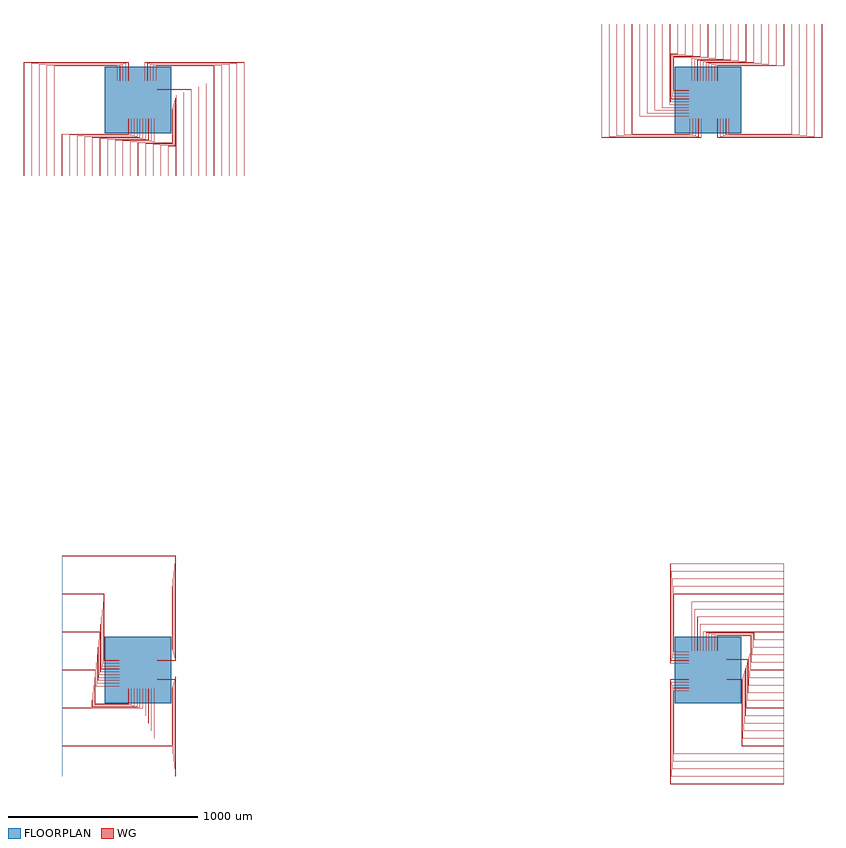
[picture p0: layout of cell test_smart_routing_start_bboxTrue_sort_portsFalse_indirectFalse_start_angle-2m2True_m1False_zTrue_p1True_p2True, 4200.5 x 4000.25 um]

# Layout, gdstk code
import gdstk
lib = gdstk.Library(unit=1e-6, precision=1e-09)
def R(c, l, rs):  # rectangles x0, y0, x1, y1
    for r in rs: c.add(gdstk.rectangle(r[:2], r[2:], *l))
def P(c, l, *ps):  # polygons
    for p in ps: c.add(gdstk.Polygon(p, *l))
WG = (1, 0)
FLOORPLAN = (10, 0)

test_smart_routing_start = lib.new_cell('test_smart_routing_start_bboxTrue_sort_portsFalse_indirectFalse_start_angle-2m2True_m1False_zTrue_p1True_p2True')
P(test_smart_routing_start, WG, [(3050.05,2802.8),(3050.05,2900),(3050.25,2900),(3050.25,2803),(3599.75,2803),(3599.75,3400),(3599.95,3400),(3599.95,2802.8)],
  [(3049.75,2802.5),(3049.75,2900),(3049.95,2900),(3049.95,2802.7),(3600.05,2802.7),(3600.05,3400),(3600.25,3400),(3600.25,2802.5)],
  [(3065.05,2807.3),(3065.05,2900),(3065.25,2900),(3065.25,2807.5),(3559.75,2807.5),(3559.75,3400),(3559.95,3400),(3559.95,2807.3)],
  [(3064.75,2807),(3064.75,2900),(3064.95,2900),(3064.95,2807.2),(3560.05,2807.2),(3560.05,3400),(3560.25,3400),(3560.25,2807)],
  [(3080.05,2811.8),(3080.05,2900),(3080.25,2900),(3080.25,2812),(3519.75,2812),(3519.75,3400),(3519.95,3400),(3519.95,2811.8)],
  [(3079.75,2811.5),(3079.75,2900),(3079.95,2900),(3079.95,2811.7),(3520.05,2811.7),(3520.05,3400),(3520.25,3400),(3520.25,2811.5)],
  [(3095.05,2816.3),(3095.05,2900),(3095.25,2900),(3095.25,2816.5),(3479.75,2816.5),(3479.75,3400),(3479.95,3400),(3479.95,2816.3)],
  [(3094.75,2816),(3094.75,2900),(3094.95,2900),(3094.95,2816.2),(3480.05,2816.2),(3480.05,3400),(3480.25,3400),(3480.25,2816)],
  [(3110.05,2820.8),(3110.05,2900),(3110.25,2900),(3110.25,2821),(3439.75,2821),(3439.75,3400),(3439.95,3400),(3439.95,2820.8)],
  [(3109.75,2820.5),(3109.75,2900),(3109.95,2900),(3109.95,2820.7),(3440.05,2820.7),(3440.05,3400),(3440.25,3400),(3440.25,2820.5)],
  [(3049.75,3100),(3049.75,3179.5),(3399.75,3179.5),(3399.75,3400),(3399.95,3400),(3399.95,3179.3),(3049.95,3179.3),(3049.95,3100)],
  [(3050.05,3100),(3050.05,3179.2),(3400.05,3179.2),(3400.05,3400),(3400.25,3400),(3400.25,3179),(3050.25,3179),(3050.25,3100)],
  [(3034.75,3100),(3034.75,3184),(3359.75,3184),(3359.75,3400),(3359.95,3400),(3359.95,3183.8),(3034.95,3183.8),(3034.95,3100)],
  [(3035.05,3100),(3035.05,3183.7),(3360.05,3183.7),(3360.05,3400),(3360.25,3400),(3360.25,3183.5),(3035.25,3183.5),(3035.25,3100)],
  [(3019.75,3100),(3019.75,3188.5),(3319.75,3188.5),(3319.75,3400),(3319.95,3400),(3319.95,3188.3),(3019.95,3188.3),(3019.95,3100)],
  [(3020.05,3100),(3020.05,3188.2),(3320.05,3188.2),(3320.05,3400),(3320.25,3400),(3320.25,3188),(3020.25,3188),(3020.25,3100)],
  [(3004.75,3100),(3004.75,3193),(3279.75,3193),(3279.75,3400),(3279.95,3400),(3279.95,3192.8),(3004.95,3192.8),(3004.95,3100)],
  [(3005.05,3100),(3005.05,3192.7),(3280.05,3192.7),(3280.05,3400),(3280.25,3400),(3280.25,3192.5),(3005.25,3192.5),(3005.25,3100)],
  [(2989.75,3100),(2989.75,3197.5),(3239.75,3197.5),(3239.75,3400),(3239.95,3400),(3239.95,3197.3),(2989.95,3197.3),(2989.95,3100)],
  [(2990.05,3100),(2990.05,3197.2),(3240.05,3197.2),(3240.05,3400),(3240.25,3400),(3240.25,3197),(2990.25,3197),(2990.25,3100)],
  [(2974.75,3100),(2974.75,3202),(3199.75,3202),(3199.75,3400),(3199.95,3400),(3199.95,3201.8),(2974.95,3201.8),(2974.95,3100)],
  [(2975.05,3100),(2975.05,3201.7),(3200.05,3201.7),(3200.05,3400),(3200.25,3400),(3200.25,3201.5),(2975.25,3201.5),(2975.25,3100)],
  [(2959.75,3100),(2959.75,3206.5),(3159.75,3206.5),(3159.75,3400),(3159.95,3400),(3159.95,3206.3),(2959.95,3206.3),(2959.95,3100)],
  [(2960.05,3100),(2960.05,3206.2),(3160.05,3206.2),(3160.05,3400),(3160.25,3400),(3160.25,3206),(2960.25,3206),(2960.25,3100)],
  [(2944.75,3100),(2944.75,3211),(3119.75,3211),(3119.75,3400),(3119.95,3400),(3119.95,3210.8),(2944.95,3210.8),(2944.95,3100)],
  [(2945.05,3100),(2945.05,3210.7),(3120.05,3210.7),(3120.05,3400),(3120.25,3400),(3120.25,3210.5),(2945.25,3210.5),(2945.25,3100)],
  [(2929.75,3100),(2929.75,3215.5),(3079.75,3215.5),(3079.75,3400),(3079.95,3400),(3079.95,3215.3),(2929.95,3215.3),(2929.95,3100)],
  [(2930.05,3100),(2930.05,3215.2),(3080.05,3215.2),(3080.05,3400),(3080.25,3400),(3080.25,3215),(2930.25,3215),(2930.25,3100)],
  [(2914.75,3100),(2914.75,3220),(3039.75,3220),(3039.75,3400),(3039.95,3400),(3039.95,3219.8),(2914.95,3219.8),(2914.95,3100)],
  [(2915.05,3100),(2915.05,3219.7),(3040.05,3219.7),(3040.05,3400),(3040.25,3400),(3040.25,3219.5),(2915.25,3219.5),(2915.25,3100)],
  [(2820.5,3049.75),(2820.5,3224.5),(2999.75,3224.5),(2999.75,3400),(2999.95,3400),(2999.95,3224.3),(2820.7,3224.3),(2820.7,3049.95),(2900,3049.95),(2900,3049.75)],
  [(2820.8,3050.05),(2820.8,3224.2),(3000.05,3224.2),(3000.05,3400),(3000.25,3400),(3000.25,3224),(2821,3224),(2821,3050.25),(2900,3050.25),(2900,3050.05)],
  [(2816,3034.75),(2816,3229),(2959.75,3229),(2959.75,3400),(2959.95,3400),(2959.95,3228.8),(2816.2,3228.8),(2816.2,3034.95),(2900,3034.95),(2900,3034.75)],
  [(2816.3,3035.05),(2816.3,3228.7),(2960.05,3228.7),(2960.05,3400),(2960.25,3400),(2960.25,3228.5),(2816.5,3228.5),(2816.5,3035.25),(2900,3035.25),(2900,3035.05)],
  [(2811.5,3019.75),(2811.5,3233.5),(2919.75,3233.5),(2919.75,3400),(2919.95,3400),(2919.95,3233.3),(2811.7,3233.3),(2811.7,3019.95),(2900,3019.95),(2900,3019.75)],
  [(2811.8,3020.05),(2811.8,3233.2),(2920.05,3233.2),(2920.05,3400),(2920.25,3400),(2920.25,3233),(2812,3233),(2812,3020.25),(2900,3020.25),(2900,3020.05)],
  [(2807,3004.75),(2807,3238),(2879.75,3238),(2879.75,3400),(2879.95,3400),(2879.95,3237.8),(2807.2,3237.8),(2807.2,3004.95),(2900,3004.95),(2900,3004.75)],
  [(2807.3,3005.05),(2807.3,3237.7),(2880.05,3237.7),(2880.05,3400),(2880.25,3400),(2880.25,3237.5),(2807.5,3237.5),(2807.5,3005.25),(2900,3005.25),(2900,3005.05)],
  [(2802.5,2989.75),(2802.5,3242.5),(2839.75,3242.5),(2839.75,3400),(2839.95,3400),(2839.95,3242.3),(2802.7,3242.3),(2802.7,2989.95),(2900,2989.95),(2900,2989.75)],
  [(2802.8,2990.05),(2802.8,3242.2),(2840.05,3242.2),(2840.05,3400),(2840.25,3400),(2840.25,3242),(2803,3242),(2803,2990.25),(2900,2990.25),(2900,2990.05)],
  [(2798,2974.75),(2798,3247),(2799.75,3247),(2799.75,3400),(2799.95,3400),(2799.95,3246.8),(2798.2,3246.8),(2798.2,2974.95),(2900,2974.95),(2900,2974.75)],
  [(2798.3,2975.05),(2798.3,3246.7),(2800.05,3246.7),(2800.05,3400),(2800.25,3400),(2800.25,3246.5),(2798.5,3246.5),(2798.5,2975.25),(2900,2975.25),(2900,2975.05)],
  [(2759.75,2959.75),(2759.75,3400),(2759.95,3400),(2759.95,2959.95),(2900,2959.95),(2900,2959.75)],
  [(2760.05,2960.05),(2760.05,3400),(2760.25,3400),(2760.25,2960.25),(2900,2960.25),(2900,2960.05)],
  [(2719.75,2944.75),(2719.75,3400),(2719.95,3400),(2719.95,2944.95),(2900,2944.95),(2900,2944.75)],
  [(2720.05,2945.05),(2720.05,3400),(2720.25,3400),(2720.25,2945.25),(2900,2945.25),(2900,2945.05)],
  [(2679.75,2929.75),(2679.75,3400),(2679.95,3400),(2679.95,2929.95),(2900,2929.95),(2900,2929.75)],
  [(2680.05,2930.05),(2680.05,3400),(2680.25,3400),(2680.25,2930.25),(2900,2930.25),(2900,2930.05)],
  [(2639.75,2914.75),(2639.75,3400),(2639.95,3400),(2639.95,2914.95),(2900,2914.95),(2900,2914.75)],
  [(2640.05,2915.05),(2640.05,3400),(2640.25,3400),(2640.25,2915.25),(2900,2915.25),(2900,2915.05)],
  [(2439.75,2802.5),(2439.75,3400),(2439.95,3400),(2439.95,2802.7),(2965.05,2802.7),(2965.05,2900),(2965.25,2900),(2965.25,2802.5)],
  [(2440.05,2802.8),(2440.05,3400),(2440.25,3400),(2440.25,2803),(2964.75,2803),(2964.75,2900),(2964.95,2900),(2964.95,2802.8)],
  [(2479.75,2807),(2479.75,3400),(2479.95,3400),(2479.95,2807.2),(2950.05,2807.2),(2950.05,2900),(2950.25,2900),(2950.25,2807)],
  [(2480.05,2807.3),(2480.05,3400),(2480.25,3400),(2480.25,2807.5),(2949.75,2807.5),(2949.75,2900),(2949.95,2900),(2949.95,2807.3)],
  [(2519.75,2811.5),(2519.75,3400),(2519.95,3400),(2519.95,2811.7),(2935.05,2811.7),(2935.05,2900),(2935.25,2900),(2935.25,2811.5)],
  [(2520.05,2811.8),(2520.05,3400),(2520.25,3400),(2520.25,2812),(2934.75,2812),(2934.75,2900),(2934.95,2900),(2934.95,2811.8)],
  [(2559.75,2816),(2559.75,3400),(2559.95,3400),(2559.95,2816.2),(2920.05,2816.2),(2920.05,2900),(2920.25,2900),(2920.25,2816)],
  [(2560.05,2816.3),(2560.05,3400),(2560.25,3400),(2560.25,2816.5),(2919.75,2816.5),(2919.75,2900),(2919.95,2900),(2919.95,2816.3)],
  [(2599.75,2820.5),(2599.75,3400),(2599.95,3400),(2599.95,2820.7),(2905.05,2820.7),(2905.05,2900),(2905.25,2900),(2905.25,2820.5)],
  [(2600.05,2820.8),(2600.05,3400),(2600.25,3400),(2600.25,2821),(2904.75,2821),(2904.75,2900),(2904.95,2900),(2904.95,2820.8)],
  [(-599.95,2600),(-599.95,3197.2),(-50.05,3197.2),(-50.05,3100),(-50.25,3100),(-50.25,3197),(-599.75,3197),(-599.75,2600)],
  [(-600.25,2600),(-600.25,3197.5),(-49.75,3197.5),(-49.75,3100),(-49.95,3100),(-49.95,3197.3),(-600.05,3197.3),(-600.05,2600)],
  [(-559.95,2600),(-559.95,3192.7),(-65.05,3192.7),(-65.05,3100),(-65.25,3100),(-65.25,3192.5),(-559.75,3192.5),(-559.75,2600)],
  [(-560.25,2600),(-560.25,3193),(-64.75,3193),(-64.75,3100),(-64.95,3100),(-64.95,3192.8),(-560.05,3192.8),(-560.05,2600)],
  [(-519.95,2600),(-519.95,3188.2),(-80.05,3188.2),(-80.05,3100),(-80.25,3100),(-80.25,3188),(-519.75,3188),(-519.75,2600)],
  [(-520.25,2600),(-520.25,3188.5),(-79.75,3188.5),(-79.75,3100),(-79.95,3100),(-79.95,3188.3),(-520.05,3188.3),(-520.05,2600)],
  [(-479.95,2600),(-479.95,3183.7),(-95.05,3183.7),(-95.05,3100),(-95.25,3100),(-95.25,3183.5),(-479.75,3183.5),(-479.75,2600)],
  [(-480.25,2600),(-480.25,3184),(-94.75,3184),(-94.75,3100),(-94.95,3100),(-94.95,3183.8),(-480.05,3183.8),(-480.05,2600)],
  [(-439.95,2600),(-439.95,3179.2),(-110.05,3179.2),(-110.05,3100),(-110.25,3100),(-110.25,3179),(-439.75,3179),(-439.75,2600)],
  [(-440.25,2600),(-440.25,3179.5),(-109.75,3179.5),(-109.75,3100),(-109.95,3100),(-109.95,3179.3),(-440.05,3179.3),(-440.05,2600)],
  [(-400.25,2600),(-400.25,2821),(-50.25,2821),(-50.25,2900),(-50.05,2900),(-50.05,2820.8),(-400.05,2820.8),(-400.05,2600)],
  [(-399.95,2600),(-399.95,2820.7),(-49.95,2820.7),(-49.95,2900),(-49.75,2900),(-49.75,2820.5),(-399.75,2820.5),(-399.75,2600)],
  [(-360.25,2600),(-360.25,2816.5),(-35.25,2816.5),(-35.25,2900),(-35.05,2900),(-35.05,2816.3),(-360.05,2816.3),(-360.05,2600)],
  [(-359.95,2600),(-359.95,2816.2),(-34.95,2816.2),(-34.95,2900),(-34.75,2900),(-34.75,2816),(-359.75,2816),(-359.75,2600)],
  [(-320.25,2600),(-320.25,2812),(-20.25,2812),(-20.25,2900),(-20.05,2900),(-20.05,2811.8),(-320.05,2811.8),(-320.05,2600)],
  [(-319.95,2600),(-319.95,2811.7),(-19.95,2811.7),(-19.95,2900),(-19.75,2900),(-19.75,2811.5),(-319.75,2811.5),(-319.75,2600)],
  [(-280.25,2600),(-280.25,2807.5),(-5.25,2807.5),(-5.25,2900),(-5.05,2900),(-5.05,2807.3),(-280.05,2807.3),(-280.05,2600)],
  [(-279.95,2600),(-279.95,2807.2),(-4.95,2807.2),(-4.95,2900),(-4.75,2900),(-4.75,2807),(-279.75,2807),(-279.75,2600)],
  [(-240.25,2600),(-240.25,2803),(9.75,2803),(9.75,2900),(9.95,2900),(9.95,2802.8),(-240.05,2802.8),(-240.05,2600)],
  [(-239.95,2600),(-239.95,2802.7),(10.05,2802.7),(10.05,2900),(10.25,2900),(10.25,2802.5),(-239.75,2802.5),(-239.75,2600)],
  [(-200.25,2600),(-200.25,2798.5),(24.75,2798.5),(24.75,2900),(24.95,2900),(24.95,2798.3),(-200.05,2798.3),(-200.05,2600)],
  [(-199.95,2600),(-199.95,2798.2),(25.05,2798.2),(25.05,2900),(25.25,2900),(25.25,2798),(-199.75,2798),(-199.75,2600)],
  [(-160.25,2600),(-160.25,2794),(39.75,2794),(39.75,2900),(39.95,2900),(39.95,2793.8),(-160.05,2793.8),(-160.05,2600)],
  [(-159.95,2600),(-159.95,2793.7),(40.05,2793.7),(40.05,2900),(40.25,2900),(40.25,2793.5),(-159.75,2793.5),(-159.75,2600)],
  [(-120.25,2600),(-120.25,2789.5),(54.75,2789.5),(54.75,2900),(54.95,2900),(54.95,2789.3),(-120.05,2789.3),(-120.05,2600)],
  [(-119.95,2600),(-119.95,2789.2),(55.05,2789.2),(55.05,2900),(55.25,2900),(55.25,2789),(-119.75,2789),(-119.75,2600)],
  [(-80.25,2600),(-80.25,2785),(69.75,2785),(69.75,2900),(69.95,2900),(69.95,2784.8),(-80.05,2784.8),(-80.05,2600)],
  [(-79.95,2600),(-79.95,2784.7),(70.05,2784.7),(70.05,2900),(70.25,2900),(70.25,2784.5),(-79.75,2784.5),(-79.75,2600)],
  [(-40.25,2600),(-40.25,2780.5),(84.75,2780.5),(84.75,2900),(84.95,2900),(84.95,2780.3),(-40.05,2780.3),(-40.05,2600)],
  [(-39.95,2600),(-39.95,2780.2),(85.05,2780.2),(85.05,2900),(85.25,2900),(85.25,2780),(-39.75,2780),(-39.75,2600)],
  [(-0.25,2600),(-0.25,2776),(179,2776),(179,2949.75),(100,2949.75),(100,2949.95),(179.2,2949.95),(179.2,2775.8),(-0.05,2775.8),(-0.05,2600)],
  [(0.05,2600),(0.05,2775.7),(179.3,2775.7),(179.3,2950.05),(100,2950.05),(100,2950.25),(179.5,2950.25),(179.5,2775.5),(0.25,2775.5),(0.25,2600)],
  [(39.75,2600),(39.75,2771.5),(183.5,2771.5),(183.5,2964.75),(100,2964.75),(100,2964.95),(183.7,2964.95),(183.7,2771.3),(39.95,2771.3),(39.95,2600)],
  [(40.05,2600),(40.05,2771.2),(183.8,2771.2),(183.8,2965.05),(100,2965.05),(100,2965.25),(184,2965.25),(184,2771),(40.25,2771),(40.25,2600)],
  [(79.75,2600),(79.75,2767),(188,2767),(188,2979.75),(100,2979.75),(100,2979.95),(188.2,2979.95),(188.2,2766.8),(79.95,2766.8),(79.95,2600)],
  [(80.05,2600),(80.05,2766.7),(188.3,2766.7),(188.3,2980.05),(100,2980.05),(100,2980.25),(188.5,2980.25),(188.5,2766.5),(80.25,2766.5),(80.25,2600)],
  [(119.75,2600),(119.75,2762.5),(192.5,2762.5),(192.5,2994.75),(100,2994.75),(100,2994.95),(192.7,2994.95),(192.7,2762.3),(119.95,2762.3),(119.95,2600)],
  [(120.05,2600),(120.05,2762.2),(192.8,2762.2),(192.8,2995.05),(100,2995.05),(100,2995.25),(193,2995.25),(193,2762),(120.25,2762),(120.25,2600)],
  [(159.75,2600),(159.75,2758),(197,2758),(197,3009.75),(100,3009.75),(100,3009.95),(197.2,3009.95),(197.2,2757.8),(159.95,2757.8),(159.95,2600)],
  [(160.05,2600),(160.05,2757.7),(197.3,2757.7),(197.3,3010.05),(100,3010.05),(100,3010.25),(197.5,3010.25),(197.5,2757.5),(160.25,2757.5),(160.25,2600)],
  [(199.75,2600),(199.75,2753.5),(201.5,2753.5),(201.5,3024.75),(100,3024.75),(100,3024.95),(201.7,3024.95),(201.7,2753.3),(199.95,2753.3),(199.95,2600)],
  [(200.05,2600),(200.05,2753.2),(201.8,2753.2),(201.8,3025.05),(100,3025.05),(100,3025.25),(202,3025.25),(202,2753),(200.25,2753),(200.25,2600)],
  [(239.75,2600),(239.75,3039.75),(100,3039.75),(100,3039.95),(239.95,3039.95),(239.95,2600)],
  [(240.05,2600),(240.05,3040.05),(100,3040.05),(100,3040.25),(240.25,3040.25),(240.25,2600)],
  [(279.75,2600),(279.75,3054.75),(100,3054.75),(100,3054.95),(279.95,3054.95),(279.95,2600)],
  [(280.05,2600),(280.05,3055.05),(100,3055.05),(100,3055.25),(280.25,3055.25),(280.25,2600)],
  [(319.75,2600),(319.75,3069.75),(100,3069.75),(100,3069.95),(319.95,3069.95),(319.95,2600)],
  [(320.05,2600),(320.05,3070.05),(100,3070.05),(100,3070.25),(320.25,3070.25),(320.25,2600)],
  [(359.75,2600),(359.75,3084.75),(100,3084.75),(100,3084.95),(359.95,3084.95),(359.95,2600)],
  [(360.05,2600),(360.05,3085.05),(100,3085.05),(100,3085.25),(360.25,3085.25),(360.25,2600)],
  [(559.75,2600),(559.75,3197),(35.25,3197),(35.25,3100),(35.05,3100),(35.05,3197.2),(559.95,3197.2),(559.95,2600)],
  [(560.05,2600),(560.05,3197.3),(34.95,3197.3),(34.95,3100),(34.75,3100),(34.75,3197.5),(560.25,3197.5),(560.25,2600)],
  [(519.75,2600),(519.75,3192.5),(50.25,3192.5),(50.25,3100),(50.05,3100),(50.05,3192.7),(519.95,3192.7),(519.95,2600)],
  [(520.05,2600),(520.05,3192.8),(49.95,3192.8),(49.95,3100),(49.75,3100),(49.75,3193),(520.25,3193),(520.25,2600)],
  [(479.75,2600),(479.75,3188),(65.25,3188),(65.25,3100),(65.05,3100),(65.05,3188.2),(479.95,3188.2),(479.95,2600)],
  [(480.05,2600),(480.05,3188.3),(64.95,3188.3),(64.95,3100),(64.75,3100),(64.75,3188.5),(480.25,3188.5),(480.25,2600)],
  [(439.75,2600),(439.75,3183.5),(80.25,3183.5),(80.25,3100),(80.05,3100),(80.05,3183.7),(439.95,3183.7),(439.95,2600)],
  [(440.05,2600),(440.05,3183.8),(79.95,3183.8),(79.95,3100),(79.75,3100),(79.75,3184),(440.25,3184),(440.25,2600)],
  [(399.75,2600),(399.75,3179),(95.25,3179),(95.25,3100),(95.05,3100),(95.05,3179.2),(399.95,3179.2),(399.95,2600)],
  [(400.05,2600),(400.05,3179.3),(94.95,3179.3),(94.95,3100),(94.75,3100),(94.75,3179.5),(400.25,3179.5),(400.25,2600)],
  [(100,50.05),(100,50.25),(197,50.25),(197,599.75),(-400,599.75),(-400,599.95),(197.2,599.95),(197.2,50.05)],
  [(100,49.75),(100,49.95),(197.3,49.95),(197.3,600.05),(-400,600.05),(-400,600.25),(197.5,600.25),(197.5,49.75)],
  [(100,65.05),(100,65.25),(192.5,65.25),(192.5,559.75),(-400,559.75),(-400,559.95),(192.7,559.95),(192.7,65.05)],
  [(100,64.75),(100,64.95),(192.8,64.95),(192.8,560.05),(-400,560.05),(-400,560.25),(193,560.25),(193,64.75)],
  [(100,80.05),(100,80.25),(188,80.25),(188,519.75),(-400,519.75),(-400,519.95),(188.2,519.95),(188.2,80.05)],
  [(100,79.75),(100,79.95),(188.3,79.95),(188.3,520.05),(-400,520.05),(-400,520.25),(188.5,520.25),(188.5,79.75)],
  [(100,95.05),(100,95.25),(183.5,95.25),(183.5,479.75),(-400,479.75),(-400,479.95),(183.7,479.95),(183.7,95.05)],
  [(100,94.75),(100,94.95),(183.8,94.95),(183.8,480.05),(-400,480.05),(-400,480.25),(184,480.25),(184,94.75)],
  [(100,110.05),(100,110.25),(179,110.25),(179,439.75),(-400,439.75),(-400,439.95),(179.2,439.95),(179.2,110.05)],
  [(100,109.75),(100,109.95),(179.3,109.95),(179.3,440.05),(-400,440.05),(-400,440.25),(179.5,440.25),(179.5,109.75)],
  [(-179.5,49.75),(-179.5,399.75),(-400,399.75),(-400,399.95),(-179.3,399.95),(-179.3,49.95),(-100,49.95),(-100,49.75)],
  [(-179.2,50.05),(-179.2,400.05),(-400,400.05),(-400,400.25),(-179,400.25),(-179,50.25),(-100,50.25),(-100,50.05)],
  [(-184,34.75),(-184,359.75),(-400,359.75),(-400,359.95),(-183.8,359.95),(-183.8,34.95),(-100,34.95),(-100,34.75)],
  [(-183.7,35.05),(-183.7,360.05),(-400,360.05),(-400,360.25),(-183.5,360.25),(-183.5,35.25),(-100,35.25),(-100,35.05)],
  [(-188.5,19.75),(-188.5,319.75),(-400,319.75),(-400,319.95),(-188.3,319.95),(-188.3,19.95),(-100,19.95),(-100,19.75)],
  [(-188.2,20.05),(-188.2,320.05),(-400,320.05),(-400,320.25),(-188,320.25),(-188,20.25),(-100,20.25),(-100,20.05)],
  [(-193,4.75),(-193,279.75),(-400,279.75),(-400,279.95),(-192.8,279.95),(-192.8,4.95),(-100,4.95),(-100,4.75)],
  [(-192.7,5.05),(-192.7,280.05),(-400,280.05),(-400,280.25),(-192.5,280.25),(-192.5,5.25),(-100,5.25),(-100,5.05)],
  [(-197.5,-10.25),(-197.5,239.75),(-400,239.75),(-400,239.95),(-197.3,239.95),(-197.3,-10.05),(-100,-10.05),(-100,-10.25)],
  [(-197.2,-9.95),(-197.2,240.05),(-400,240.05),(-400,240.25),(-197,240.25),(-197,-9.75),(-100,-9.75),(-100,-9.95)],
  [(-202,-25.25),(-202,199.75),(-400,199.75),(-400,199.95),(-201.8,199.95),(-201.8,-25.05),(-100,-25.05),(-100,-25.25)],
  [(-201.7,-24.95),(-201.7,200.05),(-400,200.05),(-400,200.25),(-201.5,200.25),(-201.5,-24.75),(-100,-24.75),(-100,-24.95)],
  [(-206.5,-40.25),(-206.5,159.75),(-400,159.75),(-400,159.95),(-206.3,159.95),(-206.3,-40.05),(-100,-40.05),(-100,-40.25)],
  [(-206.2,-39.95),(-206.2,160.05),(-400,160.05),(-400,160.25),(-206,160.25),(-206,-39.75),(-100,-39.75),(-100,-39.95)],
  [(-211,-55.25),(-211,119.75),(-400,119.75),(-400,119.95),(-210.8,119.95),(-210.8,-55.05),(-100,-55.05),(-100,-55.25)],
  [(-210.7,-54.95),(-210.7,120.05),(-400,120.05),(-400,120.25),(-210.5,120.25),(-210.5,-54.75),(-100,-54.75),(-100,-54.95)],
  [(-215.5,-70.25),(-215.5,79.75),(-400,79.75),(-400,79.95),(-215.3,79.95),(-215.3,-70.05),(-100,-70.05),(-100,-70.25)],
  [(-215.2,-69.95),(-215.2,80.05),(-400,80.05),(-400,80.25),(-215,80.25),(-215,-69.75),(-100,-69.75),(-100,-69.95)],
  [(-220,-85.25),(-220,39.75),(-400,39.75),(-400,39.95),(-219.8,39.95),(-219.8,-85.05),(-100,-85.05),(-100,-85.25)],
  [(-219.7,-84.95),(-219.7,40.05),(-400,40.05),(-400,40.25),(-219.5,40.25),(-219.5,-84.75),(-100,-84.75),(-100,-84.95)],
  [(-224.5,-179.5),(-224.5,-0.25),(-400,-0.25),(-400,-0.05),(-224.3,-0.05),(-224.3,-179.3),(-49.95,-179.3),(-49.95,-100),(-49.75,-100),(-49.75,-179.5)],
  [(-224.2,-179.2),(-224.2,0.05),(-400,0.05),(-400,0.25),(-224,0.25),(-224,-179),(-50.25,-179),(-50.25,-100),(-50.05,-100),(-50.05,-179.2)],
  [(-229,-184),(-229,-40.25),(-400,-40.25),(-400,-40.05),(-228.8,-40.05),(-228.8,-183.8),(-34.95,-183.8),(-34.95,-100),(-34.75,-100),(-34.75,-184)],
  [(-228.7,-183.7),(-228.7,-39.95),(-400,-39.95),(-400,-39.75),(-228.5,-39.75),(-228.5,-183.5),(-35.25,-183.5),(-35.25,-100),(-35.05,-100),(-35.05,-183.7)],
  [(-233.5,-188.5),(-233.5,-80.25),(-400,-80.25),(-400,-80.05),(-233.3,-80.05),(-233.3,-188.3),(-19.95,-188.3),(-19.95,-100),(-19.75,-100),(-19.75,-188.5)],
  [(-233.2,-188.2),(-233.2,-79.95),(-400,-79.95),(-400,-79.75),(-233,-79.75),(-233,-188),(-20.25,-188),(-20.25,-100),(-20.05,-100),(-20.05,-188.2)],
  [(-237.7,-192.7),(-237.7,-119.95),(-400,-119.95),(-400,-119.75),(-237.5,-119.75),(-237.5,-192.5),(-5.25,-192.5),(-5.25,-100),(-5.05,-100),(-5.05,-192.7)],
  [(-238,-193),(-238,-120.25),(-400,-120.25),(-400,-120.05),(-237.8,-120.05),(-237.8,-192.8),(-4.95,-192.8),(-4.95,-100),(-4.75,-100),(-4.75,-193)],
  [(-242.2,-197.2),(-242.2,-159.95),(-400,-159.95),(-400,-159.75),(-242,-159.75),(-242,-197),(9.75,-197),(9.75,-100),(9.95,-100),(9.95,-197.2)],
  [(-242.5,-197.5),(-242.5,-160.25),(-400,-160.25),(-400,-160.05),(-242.3,-160.05),(-242.3,-197.3),(10.05,-197.3),(10.05,-100),(10.25,-100),(10.25,-197.5)],
  [(-246.7,-201.7),(-246.7,-199.95),(-400,-199.95),(-400,-199.75),(-246.5,-199.75),(-246.5,-201.5),(24.75,-201.5),(24.75,-100),(24.95,-100),(24.95,-201.7)],
  [(-247,-202),(-247,-200.25),(-400,-200.25),(-400,-200.05),(-246.8,-200.05),(-246.8,-201.8),(25.05,-201.8),(25.05,-100),(25.25,-100),(25.25,-202)],
  [(-400,-239.95),(-400,-239.75),(39.75,-239.75),(39.75,-100),(39.95,-100),(39.95,-239.95)],
  [(-400,-240.25),(-400,-240.05),(40.05,-240.05),(40.05,-100),(40.25,-100),(40.25,-240.25)],
  [(-400,-279.95),(-400,-279.75),(54.75,-279.75),(54.75,-100),(54.95,-100),(54.95,-279.95)],
  [(-400,-280.25),(-400,-280.05),(55.05,-280.05),(55.05,-100),(55.25,-100),(55.25,-280.25)],
  [(-400,-319.95),(-400,-319.75),(69.75,-319.75),(69.75,-100),(69.95,-100),(69.95,-319.95)],
  [(-400,-320.25),(-400,-320.05),(70.05,-320.05),(70.05,-100),(70.25,-100),(70.25,-320.25)],
  [(-400,-359.95),(-400,-359.75),(84.75,-359.75),(84.75,-100),(84.95,-100),(84.95,-359.95)],
  [(-400,-360.25),(-400,-360.05),(85.05,-360.05),(85.05,-100),(85.25,-100),(85.25,-360.25)],
  [(-400,-559.95),(-400,-559.75),(197,-559.75),(197,-35.25),(100,-35.25),(100,-35.05),(197.2,-35.05),(197.2,-559.95)],
  [(-400,-560.25),(-400,-560.05),(197.3,-560.05),(197.3,-34.95),(100,-34.95),(100,-34.75),(197.5,-34.75),(197.5,-560.25)],
  [(-400,-519.95),(-400,-519.75),(192.5,-519.75),(192.5,-50.25),(100,-50.25),(100,-50.05),(192.7,-50.05),(192.7,-519.95)],
  [(-400,-520.25),(-400,-520.05),(192.8,-520.05),(192.8,-49.95),(100,-49.95),(100,-49.75),(193,-49.75),(193,-520.25)],
  [(-400,-479.95),(-400,-479.75),(188,-479.75),(188,-65.25),(100,-65.25),(100,-65.05),(188.2,-65.05),(188.2,-479.95)],
  [(-400,-480.25),(-400,-480.05),(188.3,-480.05),(188.3,-64.95),(100,-64.95),(100,-64.75),(188.5,-64.75),(188.5,-480.25)],
  [(-400,-439.95),(-400,-439.75),(183.5,-439.75),(183.5,-80.25),(100,-80.25),(100,-80.05),(183.7,-80.05),(183.7,-439.95)],
  [(-400,-440.25),(-400,-440.05),(183.8,-440.05),(183.8,-79.95),(100,-79.95),(100,-79.75),(184,-79.75),(184,-440.25)],
  [(-400,-399.95),(-400,-399.75),(179,-399.75),(179,-95.25),(100,-95.25),(100,-95.05),(179.2,-95.05),(179.2,-399.95)],
  [(-400,-400.25),(-400,-400.05),(179.3,-400.05),(179.3,-94.95),(100,-94.95),(100,-94.75),(179.5,-94.75),(179.5,-400.25)],
  [(2802.8,-599.95),(2802.8,-50.05),(2900,-50.05),(2900,-50.25),(2803,-50.25),(2803,-599.75),(3400,-599.75),(3400,-599.95)],
  [(2802.5,-600.25),(2802.5,-49.75),(2900,-49.75),(2900,-49.95),(2802.7,-49.95),(2802.7,-600.05),(3400,-600.05),(3400,-600.25)],
  [(2807.3,-559.95),(2807.3,-65.05),(2900,-65.05),(2900,-65.25),(2807.5,-65.25),(2807.5,-559.75),(3400,-559.75),(3400,-559.95)],
  [(2807,-560.25),(2807,-64.75),(2900,-64.75),(2900,-64.95),(2807.2,-64.95),(2807.2,-560.05),(3400,-560.05),(3400,-560.25)],
  [(2811.8,-519.95),(2811.8,-80.05),(2900,-80.05),(2900,-80.25),(2812,-80.25),(2812,-519.75),(3400,-519.75),(3400,-519.95)],
  [(2811.5,-520.25),(2811.5,-79.75),(2900,-79.75),(2900,-79.95),(2811.7,-79.95),(2811.7,-520.05),(3400,-520.05),(3400,-520.25)],
  [(2816.3,-479.95),(2816.3,-95.05),(2900,-95.05),(2900,-95.25),(2816.5,-95.25),(2816.5,-479.75),(3400,-479.75),(3400,-479.95)],
  [(2816,-480.25),(2816,-94.75),(2900,-94.75),(2900,-94.95),(2816.2,-94.95),(2816.2,-480.05),(3400,-480.05),(3400,-480.25)],
  [(2820.8,-439.95),(2820.8,-110.05),(2900,-110.05),(2900,-110.25),(2821,-110.25),(2821,-439.75),(3400,-439.75),(3400,-439.95)],
  [(2820.5,-440.25),(2820.5,-109.75),(2900,-109.75),(2900,-109.95),(2820.7,-109.95),(2820.7,-440.05),(3400,-440.05),(3400,-440.25)],
  [(3179,-400.25),(3179,-50.25),(3100,-50.25),(3100,-50.05),(3179.2,-50.05),(3179.2,-400.05),(3400,-400.05),(3400,-400.25)],
  [(3179.3,-399.95),(3179.3,-49.95),(3100,-49.95),(3100,-49.75),(3179.5,-49.75),(3179.5,-399.75),(3400,-399.75),(3400,-399.95)],
  [(3183.5,-360.25),(3183.5,-35.25),(3100,-35.25),(3100,-35.05),(3183.7,-35.05),(3183.7,-360.05),(3400,-360.05),(3400,-360.25)],
  [(3183.8,-359.95),(3183.8,-34.95),(3100,-34.95),(3100,-34.75),(3184,-34.75),(3184,-359.75),(3400,-359.75),(3400,-359.95)],
  [(3188,-320.25),(3188,-20.25),(3100,-20.25),(3100,-20.05),(3188.2,-20.05),(3188.2,-320.05),(3400,-320.05),(3400,-320.25)],
  [(3188.3,-319.95),(3188.3,-19.95),(3100,-19.95),(3100,-19.75),(3188.5,-19.75),(3188.5,-319.75),(3400,-319.75),(3400,-319.95)],
  [(3192.5,-280.25),(3192.5,-5.25),(3100,-5.25),(3100,-5.05),(3192.7,-5.05),(3192.7,-280.05),(3400,-280.05),(3400,-280.25)],
  [(3192.8,-279.95),(3192.8,-4.95),(3100,-4.95),(3100,-4.75),(3193,-4.75),(3193,-279.75),(3400,-279.75),(3400,-279.95)],
  [(3197,-240.25),(3197,9.75),(3100,9.75),(3100,9.95),(3197.2,9.95),(3197.2,-240.05),(3400,-240.05),(3400,-240.25)],
  [(3197.3,-239.95),(3197.3,10.05),(3100,10.05),(3100,10.25),(3197.5,10.25),(3197.5,-239.75),(3400,-239.75),(3400,-239.95)],
  [(3201.5,-200.25),(3201.5,24.75),(3100,24.75),(3100,24.95),(3201.7,24.95),(3201.7,-200.05),(3400,-200.05),(3400,-200.25)],
  [(3201.8,-199.95),(3201.8,25.05),(3100,25.05),(3100,25.25),(3202,25.25),(3202,-199.75),(3400,-199.75),(3400,-199.95)],
  [(3206,-160.25),(3206,39.75),(3100,39.75),(3100,39.95),(3206.2,39.95),(3206.2,-160.05),(3400,-160.05),(3400,-160.25)],
  [(3206.3,-159.95),(3206.3,40.05),(3100,40.05),(3100,40.25),(3206.5,40.25),(3206.5,-159.75),(3400,-159.75),(3400,-159.95)],
  [(3210.5,-120.25),(3210.5,54.75),(3100,54.75),(3100,54.95),(3210.7,54.95),(3210.7,-120.05),(3400,-120.05),(3400,-120.25)],
  [(3210.8,-119.95),(3210.8,55.05),(3100,55.05),(3100,55.25),(3211,55.25),(3211,-119.75),(3400,-119.75),(3400,-119.95)],
  [(3215,-80.25),(3215,69.75),(3100,69.75),(3100,69.95),(3215.2,69.95),(3215.2,-80.05),(3400,-80.05),(3400,-80.25)],
  [(3215.3,-79.95),(3215.3,70.05),(3100,70.05),(3100,70.25),(3215.5,70.25),(3215.5,-79.75),(3400,-79.75),(3400,-79.95)],
  [(3219.5,-40.25),(3219.5,84.75),(3100,84.75),(3100,84.95),(3219.7,84.95),(3219.7,-40.05),(3400,-40.05),(3400,-40.25)],
  [(3219.8,-39.95),(3219.8,85.05),(3100,85.05),(3100,85.25),(3220,85.25),(3220,-39.75),(3400,-39.75),(3400,-39.95)],
  [(3224,-0.25),(3224,179),(3050.25,179),(3050.25,100),(3050.05,100),(3050.05,179.2),(3224.2,179.2),(3224.2,-0.05),(3400,-0.05),(3400,-0.25)],
  [(3224.3,0.05),(3224.3,179.3),(3049.95,179.3),(3049.95,100),(3049.75,100),(3049.75,179.5),(3224.5,179.5),(3224.5,0.25),(3400,0.25),(3400,0.05)],
  [(3228.5,39.75),(3228.5,183.5),(3035.25,183.5),(3035.25,100),(3035.05,100),(3035.05,183.7),(3228.7,183.7),(3228.7,39.95),(3400,39.95),(3400,39.75)],
  [(3228.8,40.05),(3228.8,183.8),(3034.95,183.8),(3034.95,100),(3034.75,100),(3034.75,184),(3229,184),(3229,40.25),(3400,40.25),(3400,40.05)],
  [(3233,79.75),(3233,188),(3020.25,188),(3020.25,100),(3020.05,100),(3020.05,188.2),(3233.2,188.2),(3233.2,79.95),(3400,79.95),(3400,79.75)],
  [(3233.3,80.05),(3233.3,188.3),(3019.95,188.3),(3019.95,100),(3019.75,100),(3019.75,188.5),(3233.5,188.5),(3233.5,80.25),(3400,80.25),(3400,80.05)],
  [(3005.05,100),(3005.05,192.7),(3237.7,192.7),(3237.7,119.95),(3400,119.95),(3400,119.75),(3237.5,119.75),(3237.5,192.5),(3005.25,192.5),(3005.25,100)],
  [(3004.75,100),(3004.75,193),(3238,193),(3238,120.25),(3400,120.25),(3400,120.05),(3237.8,120.05),(3237.8,192.8),(3004.95,192.8),(3004.95,100)],
  [(2990.05,100),(2990.05,197.2),(3242.2,197.2),(3242.2,159.95),(3400,159.95),(3400,159.75),(3242,159.75),(3242,197),(2990.25,197),(2990.25,100)],
  [(2989.75,100),(2989.75,197.5),(3242.5,197.5),(3242.5,160.25),(3400,160.25),(3400,160.05),(3242.3,160.05),(3242.3,197.3),(2989.95,197.3),(2989.95,100)],
  [(2975.05,100),(2975.05,201.7),(3246.7,201.7),(3246.7,199.95),(3400,199.95),(3400,199.75),(3246.5,199.75),(3246.5,201.5),(2975.25,201.5),(2975.25,100)],
  [(2974.75,100),(2974.75,202),(3247,202),(3247,200.25),(3400,200.25),(3400,200.05),(3246.8,200.05),(3246.8,201.8),(2974.95,201.8),(2974.95,100)],
  [(2960.05,100),(2960.05,239.95),(3400,239.95),(3400,239.75),(2960.25,239.75),(2960.25,100)],
  [(2959.75,100),(2959.75,240.25),(3400,240.25),(3400,240.05),(2959.95,240.05),(2959.95,100)],
  [(2945.05,100),(2945.05,279.95),(3400,279.95),(3400,279.75),(2945.25,279.75),(2945.25,100)],
  [(2944.75,100),(2944.75,280.25),(3400,280.25),(3400,280.05),(2944.95,280.05),(2944.95,100)],
  [(2930.05,100),(2930.05,319.95),(3400,319.95),(3400,319.75),(2930.25,319.75),(2930.25,100)],
  [(2929.75,100),(2929.75,320.25),(3400,320.25),(3400,320.05),(2929.95,320.05),(2929.95,100)],
  [(2915.05,100),(2915.05,359.95),(3400,359.95),(3400,359.75),(2915.25,359.75),(2915.25,100)],
  [(2914.75,100),(2914.75,360.25),(3400,360.25),(3400,360.05),(2914.95,360.05),(2914.95,100)],
  [(2802.8,35.05),(2802.8,559.95),(3400,559.95),(3400,559.75),(2803,559.75),(2803,35.25),(2900,35.25),(2900,35.05)],
  [(2802.5,34.75),(2802.5,560.25),(3400,560.25),(3400,560.05),(2802.7,560.05),(2802.7,34.95),(2900,34.95),(2900,34.75)],
  [(2807.3,50.05),(2807.3,519.95),(3400,519.95),(3400,519.75),(2807.5,519.75),(2807.5,50.25),(2900,50.25),(2900,50.05)],
  [(2807,49.75),(2807,520.25),(3400,520.25),(3400,520.05),(2807.2,520.05),(2807.2,49.95),(2900,49.95),(2900,49.75)],
  [(2811.8,65.05),(2811.8,479.95),(3400,479.95),(3400,479.75),(2812,479.75),(2812,65.25),(2900,65.25),(2900,65.05)],
  [(2811.5,64.75),(2811.5,480.25),(3400,480.25),(3400,480.05),(2811.7,480.05),(2811.7,64.95),(2900,64.95),(2900,64.75)],
  [(2816.3,80.05),(2816.3,439.95),(3400,439.95),(3400,439.75),(2816.5,439.75),(2816.5,80.25),(2900,80.25),(2900,80.05)],
  [(2816,79.75),(2816,440.25),(3400,440.25),(3400,440.05),(2816.2,440.05),(2816.2,79.95),(2900,79.95),(2900,79.75)],
  [(2820.8,95.05),(2820.8,399.95),(3400,399.95),(3400,399.75),(2821,399.75),(2821,95.25),(2900,95.25),(2900,95.05)],
  [(2820.5,94.75),(2820.5,400.25),(3400,400.25),(3400,400.05),(2820.7,400.05),(2820.7,94.95),(2900,94.95),(2900,94.75)])
R(test_smart_routing_start, FLOORPLAN, [(-175,-175,175,175), (2825,-175,3175,175), (-175,2825,175,3175), (2825,2825,3175,3175)])
P(test_smart_routing_start, FLOORPLAN, [(-400,-560),(-400,600),(-400,600),(-400,-560)],
  [(-600,2600),(-600,2600),(560,2600),(560,2600)],
  [(3400,-600),(3400,560),(3400,560),(3400,-600)],
  [(2440,3400),(2440,3400),(3600,3400),(3600,3400)])

lib.write_gds('test_smart_routing_start_bboxTrue_sort_portsFalse_indirectFalse_start_angle-2m2True_m1False_zTrue_p1True_p2True.gds')
